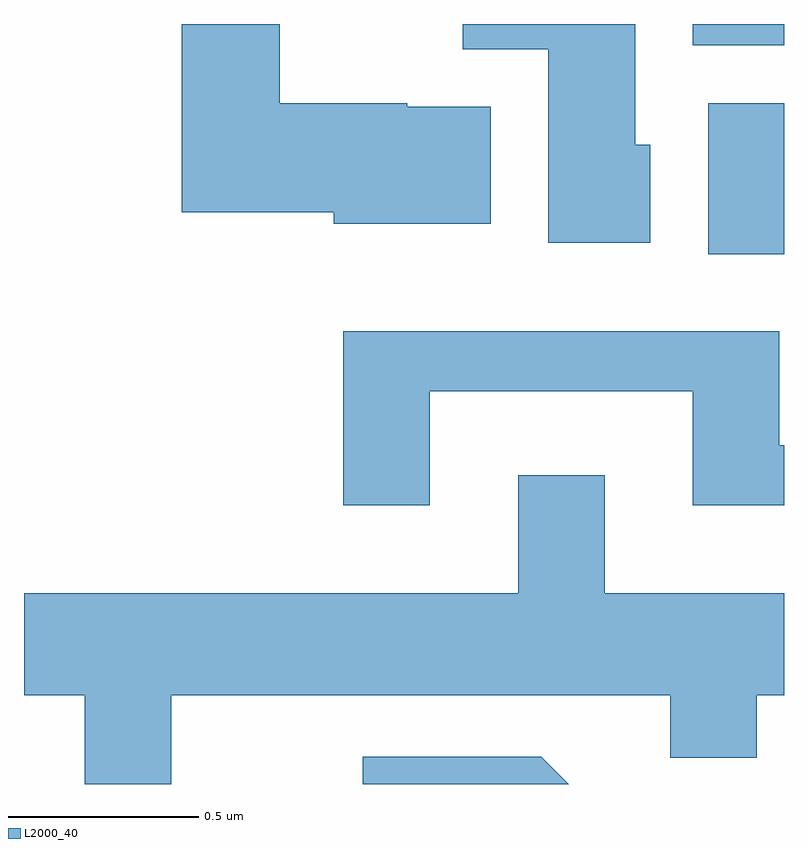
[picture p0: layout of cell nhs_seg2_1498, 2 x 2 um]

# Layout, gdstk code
import gdstk
lib = gdstk.Library(unit=1e-6, precision=1e-09)
def R(c, l, rs):  # rectangles x0, y0, x1, y1
    for r in rs: c.add(gdstk.rectangle(r[:2], r[2:], *l))
def P(c, l, *ps):  # polygons
    for p in ps: c.add(gdstk.Polygon(p, *l))
L2000_40 = (2000, 40)

nhs_seg2_1498 = lib.new_cell('nhs_seg2_1498')
R(nhs_seg2_1498, L2000_40, [(197.411,1107.196,197.611,1107.594), (197.371,1107.746,197.611,1107.802)])
P(nhs_seg2_1498, L2000_40, [(197.259,1107.484),(197.219,1107.484),(197.219,1107.802),(196.766,1107.802),(196.766,1107.736),(196.991,1107.736),(196.991,1107.226),(197.259,1107.226)],
  [(196.839,1107.584),(196.62,1107.584),(196.62,1107.594),(196.284,1107.594),(196.284,1107.802),(196.026,1107.802),(196.026,1107.306),(196.426,1107.306),(196.426,1107.276),(196.839,1107.276)],
  [(196.679,1106.836),(197.371,1106.836),(197.371,1106.536),(197.611,1106.536),(197.611,1106.694),(197.599,1106.694),(197.599,1106.994),(196.451,1106.994),(196.451,1106.536),(196.679,1106.536)],
  [(195.999,1106.036),(197.311,1106.036),(197.311,1105.871),(197.539,1105.871),(197.539,1106.036),(197.611,1106.036),(197.611,1106.304),(197.139,1106.304),(197.139,1106.614),(196.911,1106.614),(196.911,1106.304),(195.611,1106.304),(195.611,1106.036),(195.771,1106.036),(195.771,1105.802),(195.999,1105.802)],
  [(196.972,1105.874),(196.503,1105.874),(196.503,1105.802),(197.044,1105.802)])

lib.write_gds('nhs_seg2_1498.gds')
